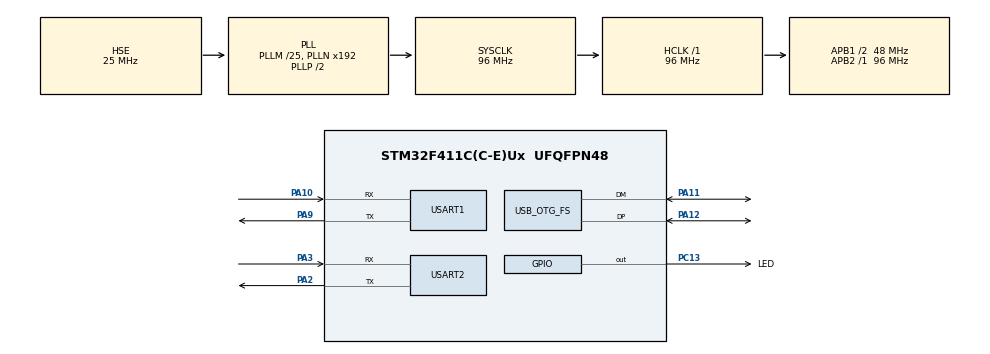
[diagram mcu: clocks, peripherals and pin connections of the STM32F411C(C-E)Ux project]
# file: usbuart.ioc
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Mcu.Family=STM32F4
VP_TIM5_VS_ClockSourceINT.Mode=Internal
USB_DEVICE.CLASS_NAME_FS=CDC
RCC.CortexFreq_Value=96000000
PA10.Mode=Asynchronous
PC13-ANTI_TAMP.GPIO_PuPd=GPIO_PULLUP
USB_DEVICE.VirtualModeFS=Cdc_FS
PC13-ANTI_TAMP.GPIO_Label=LED
PH1\ -\ OSC_OUT.Mode=HSE-External-Oscillator
PA11.Mode=Device_Only
RCC.APB1CLKDivider=RCC_HCLK_DIV2
NVIC.USART2_IRQn=true\:0\:0\:false\:false\:true\:true\:true
PC13-ANTI_TAMP.PinState=GPIO_PIN_SET
RCC.SYSCLKSource=RCC_SYSCLKSOURCE_PLLCLK
ProjectManager.StackSize=0x400
PA13.Signal=SYS_JTMS-SWDIO
PA3.Mode=Asynchronous
USB_DEVICE.MANUFACTURER_STRING=Lars Boegild Thomsen
TIM5.TIM_MasterOutputTrigger=TIM_TRGO_UPDATE
PA9.Mode=Asynchronous
PA12.Signal=USB_OTG_FS_DP
PH0\ -\ OSC_IN.Mode=HSE-External-Oscillator
Mcu.UserConstants=LED_PRE,959;LED_CNT,499
PH0\ -\ OSC_IN.Signal=RCC_OSC_IN
ProjectManager.TargetToolchain=STM32CubeIDE
USB_DEVICE.PRODUCT_STRING_CDC_FS=USB Uart
NVIC.TIM5_IRQn=true\:0\:0\:false\:false\:true\:true\:true
RCC.HCLKFreq_Value=96000000
VP_USB_DEVICE_VS_USB_DEVICE_CDC_FS.Mode=CDC_FS
RCC.APB2TimFreq_Value=96000000
PA9.Signal=USART1_TX
RCC.LSE_VALUE=32768
RCC.AHBFreq_Value=96000000
RCC.HSE_VALUE=25000000
PH1\ -\ OSC_OUT.Signal=RCC_OSC_OUT
board=custom
PC13-ANTI_TAMP.Signal=GPIO_Output
RCC.VCOOutputFreq_Value=192000000
PC13-ANTI_TAMP.GPIO_ModeDefaultOutputPP=GPIO_MODE_OUTPUT_OD
RCC.APB2Freq_Value=96000000
USB_DEVICE.USBD_SELF_POWERED=0
PA14.Mode=Serial_Wire
USB_OTG_FS.Sof_enable=DISABLE
PA13.Mode=Serial_Wire
Mcu.Name=STM32F411C(C-E)Ux
PA2.Signal=USART2_TX
RCC.48MHZClocksFreq_Value=48000000
RCC.SYSCLKFreq_VALUE=96000000
Mcu.Package=UFQFPN48
PA12.Mode=Device_Only
TIM5.Prescaler=LED_PRE
USART2.VirtualMode=VM_ASYNC
NVIC.OTG_FS_IRQn=true\:0\:0\:false\:false\:true\:false\:true
USART1.VirtualMode=VM_ASYNC
PA11.Signal=USB_OTG_FS_DM
PA10.Signal=USART1_RX
PA14.Signal=SYS_JTCK-SWCLK
USB_OTG_FS.VirtualMode=Device_Only
ProjectManager.HeapSize=0x200
RCC.HSI_VALUE=16000000
NVIC.PriorityGroup=NVIC_PRIORITYGROUP_4
RCC.PLLM=25
RCC.APB1TimFreq_Value=96000000
PA2.Mode=Asynchronous
TIM5.Period=LED_CNT
NVIC.USART1_IRQn=true\:0\:0\:false\:false\:true\:true\:true
TIM5.CounterMode=TIM_COUNTERMODE_DOWN
RCC.APB1Freq_Value=48000000
USB_DEVICE.VirtualMode=Cdc
USB_DEVICE.USBD_DEBUG_LEVEL=2
PA3.Signal=USART2_RX

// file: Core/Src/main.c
/* USER CODE BEGIN Header */
/**
  ******************************************************************************
  * @file           : main.c
  * @brief          : Main program body
  ******************************************************************************
  * @attention
  *
  * <h2><center>&copy; Copyright (c) 2021 STMicroelectronics.
  * All rights reserved.</center></h2>
  *
  * This software component is licensed by ST under BSD 3-Clause license,
  * the "License"; You may not use this file except in compliance with the
  * License. You may obtain a copy of the License at:
  *                        opensource.org/licenses/BSD-3-Clause
  *
  ******************************************************************************
  */
/* USER CODE END Header */
#include "main.h"
#include "usb_device.h"

/* USER CODE BEGIN Includes */
#include <errno.h>
#include <stdio.h>
/* USER CODE END Includes */

/* USER CODE BEGIN PD */

#define STDIN_FILENO  0
#define STDOUT_FILENO 1
#define STDERR_FILENO 2

/* USER CODE END PD */

TIM_HandleTypeDef htim5;

UART_HandleTypeDef huart1;
UART_HandleTypeDef huart2;

/* USER CODE BEGIN PV */
UART_HandleTypeDef *gHuart;
/* USER CODE END PV */

void SystemClock_Config(void);
static void MX_GPIO_Init(void);
static void MX_USART1_UART_Init(void);
static void MX_USART2_UART_Init(void);
static void MX_TIM5_Init(void);

/* USER CODE BEGIN 0 */

int _write(int fd, char* ptr, int len) {
  HAL_StatusTypeDef hstatus;

  if (fd == STDOUT_FILENO || fd == STDERR_FILENO) {
    hstatus = HAL_UART_Transmit(gHuart, (uint8_t *) ptr, len, HAL_MAX_DELAY);
    if (hstatus == HAL_OK)
      return len;
    else
      return EIO;
  }
  errno = EBADF;
  return -1;
}

void redirect_printf(UART_HandleTypeDef *huart) {
  gHuart = huart;

  /* Disable I/O buffering for STDOUT stream, so that
   * chars are sent out as soon as they are printed. */
  setvbuf(stdout, NULL, _IONBF, 0);
}

// Switch led off when timer is expired
void HAL_TIM_PeriodElapsedCallback(TIM_HandleTypeDef *htim) {
	if (htim->Instance == TIM5) {
		HAL_GPIO_WritePin(LED_GPIO_Port, LED_Pin, GPIO_PIN_SET); // Off LED
		HAL_TIM_Base_Stop(&htim5); // Kill the Timer
	}
}

// Flash the led for 100 ms - timer will switch it off
void pulse_led() {
	HAL_GPIO_WritePin(LED_GPIO_Port, LED_Pin, GPIO_PIN_RESET); // Switch LED ON

	if (__HAL_TIM_GET_COUNTER(&htim5) == LED_CNT) { // Check if Timer is running - sort of
		HAL_TIM_Base_Start_IT(&htim5); // Start the timer if not running
	} else {
		__HAL_TIM_SET_COUNTER(&htim5, LED_CNT); // Reset the timer IF running
	}
}

void HAL_UART_RxCpltCallback(UART_HandleTypeDef *huart) {
	asm("NOP");
}

/* USER CODE END 0 */

int main(void)
{

  /* MCU Configuration--------------------------------------------------------*/

  /* Reset of all peripherals, Initializes the Flash interface and the Systick. */
  HAL_Init();

  /* Configure the system clock */
  SystemClock_Config();

  /* Initialize all configured peripherals */
  MX_GPIO_Init();
  MX_USB_DEVICE_Init();
  MX_USART1_UART_Init();
  MX_USART2_UART_Init();
  MX_TIM5_Init();
  /* USER CODE BEGIN 2 */

  redirect_printf(&huart1);

#ifdef DEBUG
  printf("Application starting\n");
#endif

  /* USER CODE END 2 */

  /* Infinite loop */
  /* USER CODE BEGIN WHILE */

  uint32_t then = 0, now = 0;

  while (1)
  {

	now = HAL_GetTick();
	if (now % 1000 == 0 && now != then) {

		pulse_led();

#ifdef DEBUG
		printf("Tick %lu\n", now / 1000);
#endif

		then = now;
	}

    /* USER CODE END WHILE */

  }
}

void SystemClock_Config(void)
{
  RCC_OscInitTypeDef RCC_OscInitStruct = {0};
  RCC_ClkInitTypeDef RCC_ClkInitStruct = {0};

  /** Configure the main internal regulator output voltage
  */
  __HAL_RCC_PWR_CLK_ENABLE();
  __HAL_PWR_VOLTAGESCALING_CONFIG(PWR_REGULATOR_VOLTAGE_SCALE1);
  /** Initializes the RCC Oscillators according to the specified parameters
  * in the RCC_OscInitTypeDef structure.
  */
  RCC_OscInitStruct.OscillatorType = RCC_OSCILLATORTYPE_HSE;
  RCC_OscInitStruct.HSEState = RCC_HSE_ON;
  RCC_OscInitStruct.PLL.PLLState = RCC_PLL_ON;
  RCC_OscInitStruct.PLL.PLLSource = RCC_PLLSOURCE_HSE;
  RCC_OscInitStruct.PLL.PLLM = 25;
  RCC_OscInitStruct.PLL.PLLN = 192;
  RCC_OscInitStruct.PLL.PLLP = RCC_PLLP_DIV2;
  RCC_OscInitStruct.PLL.PLLQ = 4;
  if (HAL_RCC_OscConfig(&RCC_OscInitStruct) != HAL_OK)
  {
    Error_Handler();
  }
  /** Initializes the CPU, AHB and APB buses clocks
  */
  RCC_ClkInitStruct.ClockType = RCC_CLOCKTYPE_HCLK|RCC_CLOCKTYPE_SYSCLK
                              |RCC_CLOCKTYPE_PCLK1|RCC_CLOCKTYPE_PCLK2;
  RCC_ClkInitStruct.SYSCLKSource = RCC_SYSCLKSOURCE_PLLCLK;
  RCC_ClkInitStruct.AHBCLKDivider = RCC_SYSCLK_DIV1;
  RCC_ClkInitStruct.APB1CLKDivider = RCC_HCLK_DIV2;
  RCC_ClkInitStruct.APB2CLKDivider = RCC_HCLK_DIV1;

  if (HAL_RCC_ClockConfig(&RCC_ClkInitStruct, FLASH_LATENCY_3) != HAL_OK)
  {
    Error_Handler();
  }
}

static void MX_TIM5_Init(void)
{

  TIM_ClockConfigTypeDef sClockSourceConfig = {0};
  TIM_MasterConfigTypeDef sMasterConfig = {0};

  htim5.Instance = TIM5;
  htim5.Init.Prescaler = LED_PRE;
  htim5.Init.CounterMode = TIM_COUNTERMODE_DOWN;
  htim5.Init.Period = LED_CNT;
  htim5.Init.ClockDivision = TIM_CLOCKDIVISION_DIV1;
  htim5.Init.AutoReloadPreload = TIM_AUTORELOAD_PRELOAD_DISABLE;
  if (HAL_TIM_Base_Init(&htim5) != HAL_OK)
  {
    Error_Handler();
  }
  sClockSourceConfig.ClockSource = TIM_CLOCKSOURCE_INTERNAL;
  if (HAL_TIM_ConfigClockSource(&htim5, &sClockSourceConfig) != HAL_OK)
  {
    Error_Handler();
  }
  sMasterConfig.MasterOutputTrigger = TIM_TRGO_UPDATE;
  sMasterConfig.MasterSlaveMode = TIM_MASTERSLAVEMODE_DISABLE;
  if (HAL_TIMEx_MasterConfigSynchronization(&htim5, &sMasterConfig) != HAL_OK)
  {
    Error_Handler();
  }

}

static void MX_USART1_UART_Init(void)
{

  huart1.Instance = USART1;
  huart1.Init.BaudRate = 115200;
  huart1.Init.WordLength = UART_WORDLENGTH_8B;
  huart1.Init.StopBits = UART_STOPBITS_1;
  huart1.Init.Parity = UART_PARITY_NONE;
  huart1.Init.Mode = UART_MODE_TX_RX;
  huart1.Init.HwFlowCtl = UART_HWCONTROL_NONE;
  huart1.Init.OverSampling = UART_OVERSAMPLING_16;
  if (HAL_UART_Init(&huart1) != HAL_OK)
  {
    Error_Handler();
  }

}

static void MX_USART2_UART_Init(void)
{

  huart2.Instance = USART2;
  huart2.Init.BaudRate = 115200;
  huart2.Init.WordLength = UART_WORDLENGTH_8B;
  huart2.Init.StopBits = UART_STOPBITS_1;
  huart2.Init.Parity = UART_PARITY_NONE;
  huart2.Init.Mode = UART_MODE_TX_RX;
  huart2.Init.HwFlowCtl = UART_HWCONTROL_NONE;
  huart2.Init.OverSampling = UART_OVERSAMPLING_16;
  if (HAL_UART_Init(&huart2) != HAL_OK)
  {
    Error_Handler();
  }

}

static void MX_GPIO_Init(void)
{
  GPIO_InitTypeDef GPIO_InitStruct = {0};

  /* GPIO Ports Clock Enable */
  __HAL_RCC_GPIOC_CLK_ENABLE();
  __HAL_RCC_GPIOH_CLK_ENABLE();
  __HAL_RCC_GPIOA_CLK_ENABLE();

  /*Configure GPIO pin Output Level */
  HAL_GPIO_WritePin(LED_GPIO_Port, LED_Pin, GPIO_PIN_SET);

  /*Configure GPIO pin : LED_Pin */
  GPIO_InitStruct.Pin = LED_Pin;
  GPIO_InitStruct.Mode = GPIO_MODE_OUTPUT_OD;
  GPIO_InitStruct.Pull = GPIO_PULLUP;
  GPIO_InitStruct.Speed = GPIO_SPEED_FREQ_LOW;
  HAL_GPIO_Init(LED_GPIO_Port, &GPIO_InitStruct);

}

void Error_Handler(void)
{
  __disable_irq();
  while (1)
  {
  }
}

/************************ (C) COPYRIGHT STMicroelectronics *****END OF FILE****/
